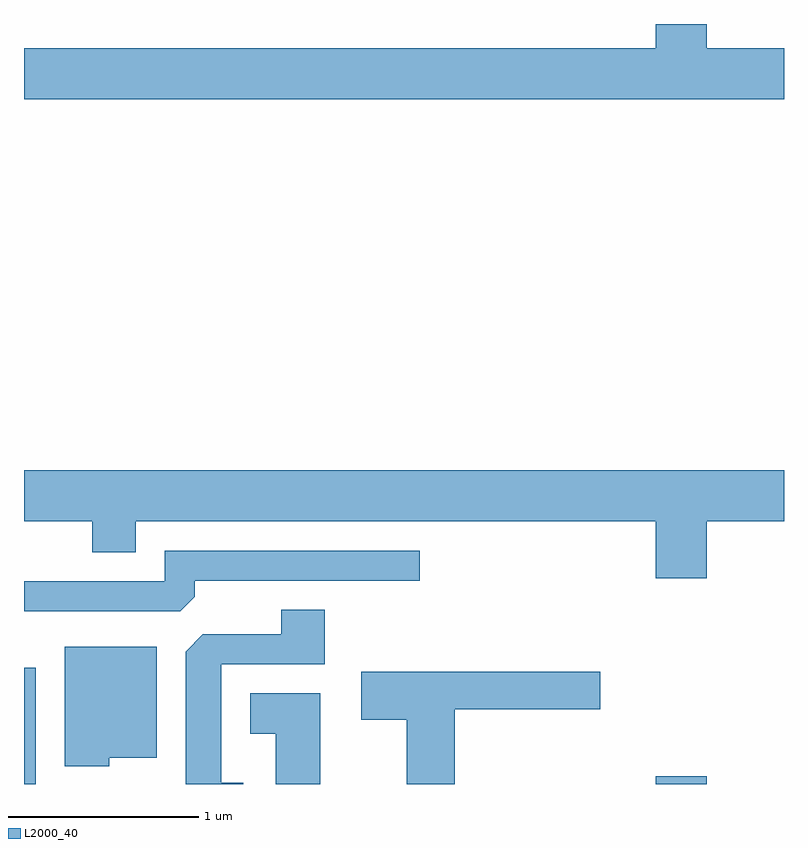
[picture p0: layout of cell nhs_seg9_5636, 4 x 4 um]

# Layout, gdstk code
import gdstk
lib = gdstk.Library(unit=1e-6, precision=1e-09)
def R(c, l, rs):  # rectangles x0, y0, x1, y1
    for r in rs: c.add(gdstk.rectangle(r[:2], r[2:], *l))
def P(c, l, *ps):  # polygons
    for p in ps: c.add(gdstk.Polygon(p, *l))
L2000_40 = (2000, 40)

nhs_seg9_5636 = lib.new_cell('nhs_seg9_5636')
R(nhs_seg9_5636, L2000_40, [(351.611,1990.432,351.674,1991.044), (354.936,1990.432,355.204,1990.474)])
P(nhs_seg9_5636, L2000_40, [(355.611,1994.304),(355.204,1994.304),(355.204,1994.432),(354.936,1994.432),(354.936,1994.304),(351.611,1994.304),(351.611,1994.036),(355.611,1994.036)],
  [(355.204,1991.816),(355.611,1991.816),(355.611,1992.084),(351.611,1992.084),(351.611,1991.816),(351.971,1991.816),(351.971,1991.651),(352.199,1991.651),(352.199,1991.816),(354.936,1991.816),(354.936,1991.516),(355.204,1991.516)],
  [(352.509,1991.417),(352.509,1991.501),(353.693,1991.501),(353.693,1991.659),(352.351,1991.659),(352.351,1991.499),(351.611,1991.499),(351.611,1991.341),(352.434,1991.341)],
  [(352.764,1990.439),(352.649,1990.439),(352.649,1991.061),(353.194,1991.061),(353.194,1991.349),(352.966,1991.349),(352.966,1991.219),(352.552,1991.219),(352.461,1991.129),(352.461,1990.432),(352.764,1990.432)],
  [(352.059,1990.571),(352.309,1990.571),(352.309,1991.154),(351.826,1991.154),(351.826,1990.526),(352.059,1990.526)],
  [(353.879,1990.826),(354.644,1990.826),(354.644,1991.024),(353.386,1991.024),(353.386,1990.771),(353.626,1990.771),(353.626,1990.432),(353.879,1990.432)],
  [(353.169,1990.909),(352.801,1990.909),(352.801,1990.696),(352.936,1990.696),(352.936,1990.432),(353.169,1990.432)])

lib.write_gds('nhs_seg9_5636.gds')
